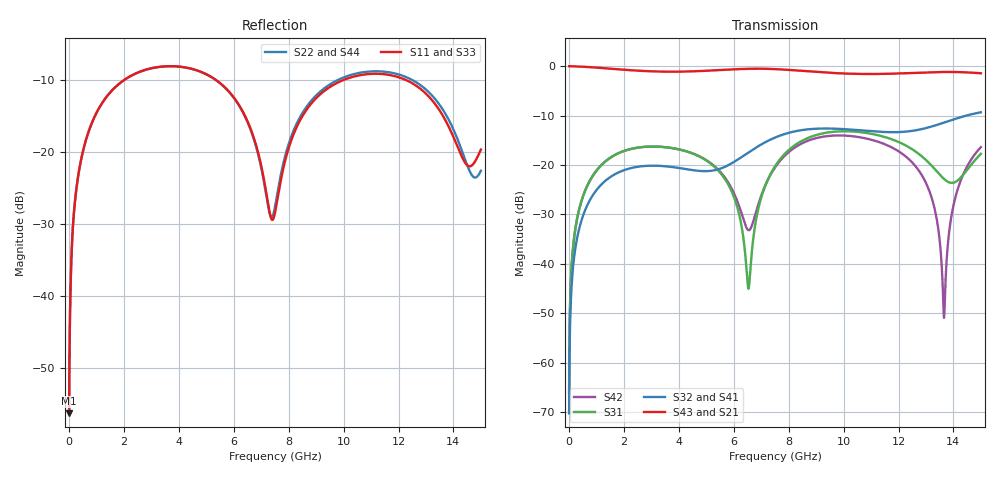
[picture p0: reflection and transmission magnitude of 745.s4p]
! Created with skrf 1.8.0 (http://scikit-rf.org).
# GHz S RI R 50.0
!freq ReS11 ImS11 ReS12 ImS12 ReS13 ImS13
! ReS14 ImS14
! ReS21 ImS21 ReS22 ImS22 ReS23 ImS23
! ReS24 ImS24
! ReS31 ImS31 ReS32 ImS32 ReS33 ImS33
! ReS34 ImS34
! ReS41 ImS41 ReS42 ImS42 ReS43 ImS43
! ReS44 ImS44
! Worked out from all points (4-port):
!   2499 points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, 5 MHz to 15 GHz, reference 50 ohm
!   strongest paths, dB at 5 MHz, 3.476 GHz, 7.19 GHz, 11.1 GHz, 15 GHz:
!     S43: 0.0, -1.1, -0.5, -1.6, -1.4
!     S21: 0.0, -1.1, -0.5, -1.6, -1.4
!     S32: -70.2, -20.2, -15.3, -13.2, -9.3
!     S41: -70.2, -20.3, -15.3, -13.3, -9.4
!     S31: -66.2, -16.4, -23.6, -13.8, -17.7
!     S42: -66.2, -16.4, -23.6, -15.0, -16.4
!   lowest |S11| = -56.3 dB at 5 MHz (marker M1), VSWR 1.00, Z = 50.1 + j0.093 ohm
!   |S11| at or under -10 dB: start of sweep to 2.002 GHz; 5.361 GHz to 9.981 GHz (4.62 GHz wide, 60.2 % of centre); 12.28 GHz to end of sweep
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0.005  0.00122 0.000928  0.9988 -0.00238  6.02e-05 0.000485  -5.85e-05 -0.000303
       0.9988 -0.00238  0.00122 0.000928  -5.85e-05 -0.000303  6.02e-05 0.000485
       6.02e-05 0.000485  -5.85e-05 -0.000303  0.00122 0.000928  0.9988 -0.00238
       -5.85e-05 -0.000303  6.02e-05 0.000485  0.9988 -0.00238  0.00122 0.000928
1.925802  0.2451 0.1877  0.6014 -0.6991  0.1182 0.0677  -0.0857 -0.0146
          0.6014 -0.6991  0.2451 0.1876  -0.0858 -0.0145  0.1182 0.0676
          0.1182 0.0677  -0.0858 -0.0145  0.245 0.1877  0.6014 -0.6991
          -0.0857 -0.0146  0.1182 0.0676  0.6014 -0.6991  0.2452 0.1875
6.533972  0.0813 -0.136  -0.849 -0.4015  -0.00542 -0.00147  -0.0544 0.1222
          -0.849 -0.4015  0.0813 -0.1335  -0.0525 0.1231  -0.0204 -0.00802
          -0.00542 -0.00147  -0.0525 0.1231  0.0807 -0.1347  -0.8494 -0.4011
          -0.0544 0.1222  -0.0204 -0.00802  -0.8494 -0.4011  0.0805 -0.1323
7.340559  0.0331 -0.0135  -0.9339 -0.0683  0.0123 0.0802  -0.0105 0.1805
          -0.9339 -0.0683  0.0347 -0.00908  -0.00787 0.1807  -0.0114 0.0789
          0.0123 0.0802  -0.00787 0.1807  0.0327 -0.0118  -0.934 -0.0677
          -0.0105 0.1805  -0.0114 0.0789  -0.934 -0.0677  0.0347 -0.00698
12.08003  0.3121 -0.0997  0.2177 0.8165  0.0984 -0.1351  0.1876 -0.1026
          0.2177 0.8165  0.3214 -0.1197  0.186 -0.1093  0.1117 -0.0726
          0.0984 -0.1351  0.186 -0.1093  0.3144 -0.0979  0.2163 0.8158
          0.1876 -0.1026  0.1117 -0.0726  0.2163 0.8158  0.3249 -0.1216
13.65569  0.1294 -0.1156  0.7006 0.5214  -0.0546 -0.0476  0.1571 -0.2173
          0.7006 0.5214  0.1268 -0.1439  0.15 -0.2225  -0.00262 -0.00111
          -0.0546 -0.0476  0.15 -0.2225  0.1323 -0.1169  0.6989 0.5227
          0.1571 -0.2173  -0.00262 -0.00111  0.6989 0.5227  0.1288 -0.1462
15  0.0936 0.0454  0.8461 0.0309  -0.00935 0.1295  0.00248 -0.3408
    0.8461 0.0309  0.0724 0.0163  -0.00766 -0.3412  0.0566 0.1407
    -0.00935 0.1295  -0.00766 -0.3412  0.0927 0.0419  0.8462 0.0333
    0.00248 -0.3408  0.0566 0.1407  0.8462 0.0333  0.0744 0.0158
